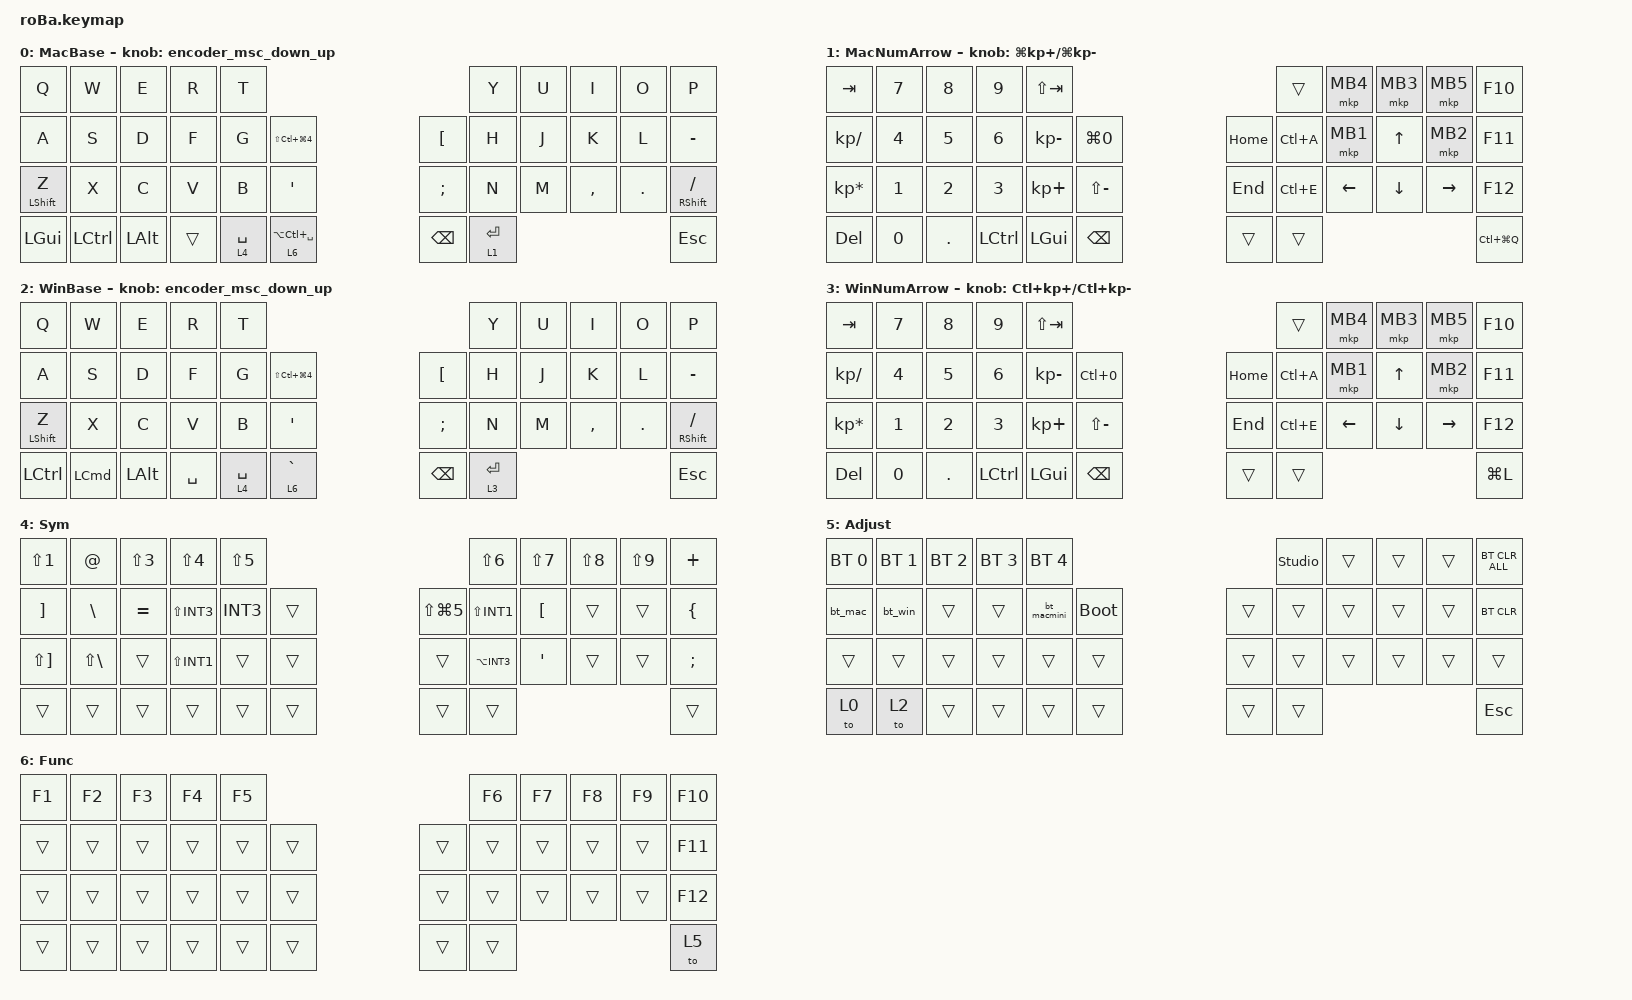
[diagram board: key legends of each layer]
#include <behaviors.dtsi>
#include <dt-bindings/zmk/bt.h>
#include <dt-bindings/zmk/keys.h>
#include <dt-bindings/zmk/pointing.h>

#define ZMK_POINTING_DEFAULT_SCRL_VAL 80

&mt {
    flavor = "balanced";
    quick-tap-ms = <0>;
};

&trackball {
    // automouse-layer = <4>;

    scroll-layers = <4>;

    // arrows {
    //     layers = <3>;
    //     bindings =
    //         <&kp RIGHT_ARROW>,
    //         <&kp LEFT_ARROW>,
    //         <&kp UP_ARROW>,
    //         <&kp DOWN_ARROW>;
    //     tick = <10>;
    //     wait-ms = <5>;
    //     tap-ms = <5>;
    // };
};

/ {
    combos {
        compatible = "zmk,combos";

        tab {
            bindings = <&kp TAB>;
            key-positions = <11 12>;
        };

        shift_tab {
            bindings = <&kp LS(TAB)>;
            key-positions = <12 13>;
        };

        muhennkann {
            bindings = <&to_layer_0 INT_MUHENKAN>;
            key-positions = <11 10>;
        };

        double_quotation {
            bindings = <&kp DOUBLE_QUOTES>;
            key-positions = <20 21>;
        };

        eq {
            bindings = <&kp EQUAL>;
            key-positions = <24 25>;
        };

        LeftClick {
            bindings = <&mkp MB1>;
            key-positions = <18 19>;
        };

        RightClick {
            bindings = <&mkp MB2>;
            key-positions = <19 20>;
        };

        PrevClick {
            bindings = <&mkp MB4>;
            key-positions = <6 7>;
        };

        NextClick {
            bindings = <&mkp MB5>;
            key-positions = <7 8>;
        };

        Delete {
            bindings = <&kp DELETE>;
            key-positions = <8 9>;
        };
    };

    macros {
        to_layer_0: to_layer_0 {
            compatible = "zmk,behavior-macro-one-param";
            #binding-cells = <1>;
            bindings = <&to 0 &macro_param_1to1 &kp MACRO_PLACEHOLDER>;
            label = "TO_LAYER_0";
        };

        bt_mac: bt_mac {
            compatible = "zmk,behavior-macro";
            #binding-cells = <0>;
            bindings = <&bt BT_SEL 0>, <&macro_tap_time 200>, <&to 0>;

            label = "BT_MAC";
        };

        bt_win: bt_win {
            compatible = "zmk,behavior-macro";
            #binding-cells = <0>;
            bindings = <&bt BT_SEL 1>, <&macro_tap_time 200>, <&to 2>;

            label = "BT_WIN";
        };

        bt_macmini: bt_macmini {
            compatible = "zmk,behavior-macro";
            #binding-cells = <0>;
            bindings = <&bt BT_SEL 4>, <&macro_tap_time 200>, <&to 0>;

            label = "BT_MACMINI";
        };
    };

    behaviors {
        lt_to_layer_0: lt_to_layer_0 {
            compatible = "zmk,behavior-hold-tap";
            label = "LAYER_TAP_TO_0";
            bindings = <&mo>, <&to_layer_0>;

            #binding-cells = <2>;
            tapping-term-ms = <200>;
        };

        scroll: scroll {
            compatible = "zmk,behavior-sensor-rotate";
            label = "SCROLL";
            #sensor-binding-cells = <0>;
            bindings = <&msc SCRL_UP>, <&msc SCRL_DOWN>;

            tap-ms = <1>;
        };

        scroll2: scroll2 {
            compatible = "zmk,behavior-sensor-rotate-var";
            label = "SCROLL2";
            #sensor-binding-cells = <2>;
            bindings = <&msc>, <&msc>;

            tap-ms = <1>;
        };

        encoder_msc_down_up: encoder_msc_down_up {
            compatible = "zmk,behavior-sensor-rotate";
            label = "ENCODER_MSC_DOWN_UP";
            #sensor-binding-cells = <0>;
            bindings = <&msc SCRL_DOWN>, <&msc SCRL_UP>;

            tap-ms = <20>;
        };
    };

    keymap {
        compatible = "zmk,keymap";

        MacBase {
            bindings = <
&kp Q             &kp W      &kp E     &kp R   &kp T                                                        &kp Y        &kp U  &kp I      &kp O    &kp P
&kp A             &kp S      &kp D     &kp F   &kp G        &kp LS(LC(LG(NUMBER_4)))      &kp LEFT_BRACKET  &kp H        &kp J  &kp K      &kp L    &kp MINUS
&mt LEFT_SHIFT Z  &kp X      &kp C     &kp V   &kp B        &kp SINGLE_QUOTE              &kp SEMICOLON     &kp N        &kp M  &kp COMMA  &kp DOT  &mt RIGHT_SHIFT SLASH
&kp LGUI          &kp LCTRL  &kp LALT  &trans  &lt 4 SPACE  &lt 6 LA(LC(SPACE))           &kp BSPC          &lt 1 ENTER                             &kp ESC
            >;

            sensor-bindings = <&encoder_msc_down_up>;
        };

        MacNumArrow {
            bindings = <
&kp TAB          &kp NUMBER_7  &kp NUMBER_8  &kp NUMBER_9  &kp LS(TAB)                                   &trans     &mkp MB4        &mkp MB3        &mkp MB5         &kp F10
&kp KP_SLASH     &kp NUMBER_4  &kp NUMBER_5  &kp NUMBER_6  &kp KP_MINUS  &kp LG(NUMBER_0)      &kp HOME  &kp LC(A)  &mkp MB1        &kp UP_ARROW    &mkp MB2         &kp F11
&kp KP_MULTIPLY  &kp NUMBER_1  &kp NUMBER_2  &kp NUMBER_3  &kp KP_PLUS   &kp LS(MINUS)         &kp END   &kp LC(E)  &kp LEFT_ARROW  &kp DOWN_ARROW  &kp RIGHT_ARROW  &kp F12
&kp DELETE       &kp N0        &kp DOT       &kp LCTRL     &kp LGUI      &kp BSPC              &trans    &trans                                                      &kp LC(LG(Q))
            >;

            sensor-bindings = <&inc_dec_kp LG(KP_PLUS) LG(KP_MINUS)>;
        };

        WinBase {
            bindings = <
&kp Q             &kp W             &kp E     &kp R      &kp T                                                        &kp Y        &kp U  &kp I      &kp O    &kp P
&kp A             &kp S             &kp D     &kp F      &kp G        &kp LS(LC(LG(NUMBER_4)))      &kp LEFT_BRACKET  &kp H        &kp J  &kp K      &kp L    &kp MINUS
&mt LEFT_SHIFT Z  &kp X             &kp C     &kp V      &kp B        &kp SINGLE_QUOTE              &kp SEMICOLON     &kp N        &kp M  &kp COMMA  &kp DOT  &mt RIGHT_SHIFT SLASH
&kp LCTRL         &kp LEFT_COMMAND  &kp LALT  &kp SPACE  &lt 4 SPACE  &lt 6 GRAVE                   &kp BSPC          &lt 3 ENTER                             &kp ESC
            >;

            sensor-bindings = <&encoder_msc_down_up>;
        };

        WinNumArrow {
            bindings = <
&kp TAB          &kp NUMBER_7  &kp NUMBER_8  &kp NUMBER_9  &kp LS(TAB)                                   &trans     &mkp MB4        &mkp MB3        &mkp MB5         &kp F10
&kp KP_SLASH     &kp NUMBER_4  &kp NUMBER_5  &kp NUMBER_6  &kp KP_MINUS  &kp LC(NUMBER_0)      &kp HOME  &kp LC(A)  &mkp MB1        &kp UP_ARROW    &mkp MB2         &kp F11
&kp KP_MULTIPLY  &kp NUMBER_1  &kp NUMBER_2  &kp NUMBER_3  &kp KP_PLUS   &kp LS(MINUS)         &kp END   &kp LC(E)  &kp LEFT_ARROW  &kp DOWN_ARROW  &kp RIGHT_ARROW  &kp F12
&kp DELETE       &kp N0        &kp DOT       &kp LCTRL     &kp LGUI      &kp BSPC              &trans    &trans                                                      &kp LG(L)
            >;

            sensor-bindings = <&inc_dec_kp LC(KP_PLUS) LC(KP_MINUS)>;
        };

        Sym {
            bindings = <
&kp LS(NUMBER_1)       &kp AT_SIGN   &kp LS(NUMBER_3)  &kp LS(NUMBER_4)  &kp LS(NUMBER_5)                                    &kp LS(NUMBER_6)  &kp LS(NUMBER_7)  &kp LS(NUMBER_8)  &kp LS(NUMBER_9)  &kp PLUS
&kp RBKT               &kp BSLH      &kp EQUAL         &kp LS(INT3)      &kp INT3          &trans      &kp LS(LG(NUMBER_5))  &kp LS(INT1)      &kp LEFT_BRACKET  &trans            &trans            &kp LEFT_BRACE
&kp LS(RIGHT_BRACKET)  &kp LS(BSLH)  &trans            &kp LS(INT1)      &trans            &trans      &trans                &kp LA(INT3)      &kp SINGLE_QUOTE  &trans            &trans            &kp SEMICOLON
&trans                 &trans        &trans            &trans            &trans            &trans      &trans                &trans                                                                  &trans
            >;
        };

        Adjust {
            bindings = <
&bt BT_SEL 0  &bt BT_SEL 1  &bt BT_SEL 2  &bt BT_SEL 3  &bt BT_SEL 4                           &studio_unlock  &trans  &trans  &trans  &bt BT_CLR_ALL
&bt_mac       &bt_win       &trans        &trans        &bt_macmini   &bootloader      &trans  &trans          &trans  &trans  &trans  &bt BT_CLR
&trans        &trans        &trans        &trans        &trans        &trans           &trans  &trans          &trans  &trans  &trans  &trans
&to 0         &to 2         &trans        &trans        &trans        &trans           &trans  &trans                                  &kp ESC
            >;
        };

        Func {
            bindings = <
&kp F1  &kp F2  &kp F3  &kp F4  &kp F5                      &kp F6  &kp F7  &kp F8  &kp F9  &kp F10
&trans  &trans  &trans  &trans  &trans  &trans      &trans  &trans  &trans  &trans  &trans  &kp F11
&trans  &trans  &trans  &trans  &trans  &trans      &trans  &trans  &trans  &trans  &trans  &kp F12
&trans  &trans  &trans  &trans  &trans  &trans      &trans  &trans                          &to 5
            >;
        };
    };
};
